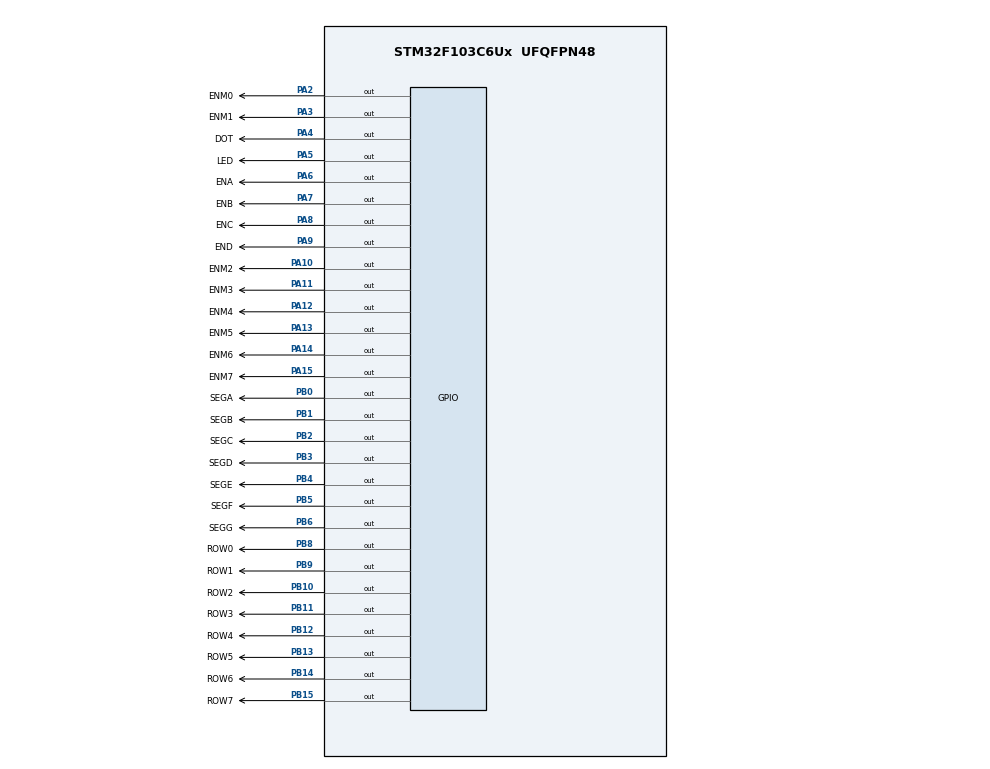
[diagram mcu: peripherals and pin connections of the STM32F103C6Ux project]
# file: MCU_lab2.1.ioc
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Mcu.Family=STM32F1
Mcu.Name=STM32F103C6Ux
Mcu.Package=UFQFPN48
NVIC.PriorityGroup=NVIC_PRIORITYGROUP_4
NVIC.TIM2_IRQn=true\:0\:0\:false\:false\:true\:true\:true
PA10.GPIO_Label=ENM2
PA10.Signal=GPIO_Output
PA11.GPIO_Label=ENM3
PA11.Signal=GPIO_Output
PA12.GPIO_Label=ENM4
PA12.Signal=GPIO_Output
PA13.GPIO_Label=ENM5
PA13.Signal=GPIO_Output
PA14.GPIO_Label=ENM6
PA14.Signal=GPIO_Output
PA15.GPIO_Label=ENM7
PA15.Signal=GPIO_Output
PA2.GPIO_Label=ENM0
PA2.Signal=GPIO_Output
PA3.GPIO_Label=ENM1
PA3.Signal=GPIO_Output
PA4.GPIO_Label=DOT
PA4.Signal=GPIO_Output
PA5.GPIO_Label=LED
PA5.Signal=GPIO_Output
PA6.GPIO_Label=ENA
PA6.Signal=GPIO_Output
PA7.GPIO_Label=ENB
PA7.Signal=GPIO_Output
PA8.GPIO_Label=ENC
PA8.Signal=GPIO_Output
PA9.GPIO_Label=END
PA9.Signal=GPIO_Output
PB0.GPIO_Label=SEGA
PB0.Signal=GPIO_Output
PB1.GPIO_Label=SEGB
PB1.Signal=GPIO_Output
PB10.GPIO_Label=ROW2
PB10.Signal=GPIO_Output
PB11.GPIO_Label=ROW3
PB11.Signal=GPIO_Output
PB12.GPIO_Label=ROW4
PB12.Signal=GPIO_Output
PB13.GPIO_Label=ROW5
PB13.Signal=GPIO_Output
PB14.GPIO_Label=ROW6
PB14.Signal=GPIO_Output
PB15.GPIO_Label=ROW7
PB15.Signal=GPIO_Output
PB2.GPIO_Label=SEGC
PB2.Signal=GPIO_Output
PB3.GPIO_Label=SEGD
PB3.Signal=GPIO_Output
PB4.GPIO_Label=SEGE
PB4.Signal=GPIO_Output
PB5.GPIO_Label=SEGF
PB5.Signal=GPIO_Output
PB6.GPIO_Label=SEGG
PB6.Signal=GPIO_Output
PB8.GPIO_Label=ROW0
PB8.Signal=GPIO_Output
PB9.GPIO_Label=ROW1
PB9.Signal=GPIO_Output
ProjectManager.HeapSize=0x200
ProjectManager.StackSize=0x400
ProjectManager.TargetToolchain=STM32CubeIDE
RCC.APB1Freq_Value=8000000
RCC.APB2Freq_Value=8000000
TIM2.Period=9
TIM2.Prescaler=7999
VP_SYS_VS_ND.Mode=No_Debug
VP_TIM2_VS_ClockSourceINT.Mode=Internal
board=custom

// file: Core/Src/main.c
/* USER CODE BEGIN Header */
/**
  ******************************************************************************
  * @file           : main.c
  * @brief          : Main program body
  ******************************************************************************
  * @attention
  *
  * <h2><center>&copy; Copyright (c) 2023 STMicroelectronics.
  * All rights reserved.</center></h2>
  *
  * This software component is licensed by ST under BSD 3-Clause license,
  * the "License"; You may not use this file except in compliance with the
  * License. You may obtain a copy of the License at:
  *                        opensource.org/licenses/BSD-3-Clause
  *
  ******************************************************************************
  */
/* USER CODE END Header */
#include "main.h"

/* USER CODE BEGIN Includes */
#include "software_timer.h"
#include "7seg.h"
/* USER CODE END Includes */

TIM_HandleTypeDef htim2;

void SystemClock_Config(void);
static void MX_TIM2_Init(void);
static void MX_GPIO_Init(void);

int main(void)
{

  /* MCU Configuration--------------------------------------------------------*/

  /* Reset of all peripherals, Initializes the Flash interface and the Systick. */
  HAL_Init();

  /* Configure the system clock */
  SystemClock_Config();

  /* Initialize all configured peripherals */
  MX_TIM2_Init();
  MX_GPIO_Init();
  /* USER CODE BEGIN 2 */
  HAL_TIM_Base_Start_IT (& htim2 );
  const int MAX_LED = 4;
  int index_led = 0;
  int led_buffer [4] = {1 , 5 , 0 , 8};
  void update7SEG (int index) {
	  Display7Seg(led_buffer[index]);
	  switch (index){
	  	  case 0:
    		  HAL_GPIO_WritePin(GPIOA, ENA_Pin, RESET);
    		  HAL_GPIO_WritePin(GPIOA, ENB_Pin, SET);
    		  HAL_GPIO_WritePin(GPIOA, ENC_Pin, SET);
    		  HAL_GPIO_WritePin(GPIOA, END_Pin, SET);
    		  break;
    	  case 1:
    		  HAL_GPIO_WritePin(GPIOA, ENA_Pin, SET);
    		  HAL_GPIO_WritePin(GPIOA, ENB_Pin, RESET);
    		  HAL_GPIO_WritePin(GPIOA, ENC_Pin, SET);
    		  HAL_GPIO_WritePin(GPIOA, END_Pin, SET);
    	  	  break;
    	  case 2:
    		  HAL_GPIO_WritePin(GPIOA, ENA_Pin, SET);
    		  HAL_GPIO_WritePin(GPIOA, ENB_Pin, SET);
    		  HAL_GPIO_WritePin(GPIOA, ENC_Pin, RESET);
    		  HAL_GPIO_WritePin(GPIOA, END_Pin, SET);
    	  	  break;
    	  case 3:
    		  HAL_GPIO_WritePin(GPIOA, ENA_Pin, SET);
    		  HAL_GPIO_WritePin(GPIOA, ENB_Pin, SET);
    		  HAL_GPIO_WritePin(GPIOA, ENC_Pin, SET);
    		  HAL_GPIO_WritePin(GPIOA, END_Pin, RESET);
    	  	  break;
    	  default:
    	  	  break;
    	  }
  };
  int hour = 15, minute = 8, second = 50;
  void updateClockBuffer(){
	  led_buffer[0] = hour / 10;
      led_buffer[1] = hour % 10;
      led_buffer[2] = minute / 10;
      led_buffer[3] = minute % 10;
  };

  void clearCols(){
  	HAL_GPIO_WritePin(GPIOA, ENM0_Pin, SET);
  	HAL_GPIO_WritePin(GPIOA, ENM1_Pin, SET);
  	HAL_GPIO_WritePin(GPIOA, ENM2_Pin, SET);
  	HAL_GPIO_WritePin(GPIOA, ENM3_Pin, SET);
  	HAL_GPIO_WritePin(GPIOA, ENM4_Pin, SET);
  	HAL_GPIO_WritePin(GPIOA, ENM5_Pin, SET);
  	HAL_GPIO_WritePin(GPIOA, ENM6_Pin, SET);
  	HAL_GPIO_WritePin(GPIOA, ENM7_Pin, SET);
  }
  void clearRows(){
  	HAL_GPIO_WritePin(GPIOB, ROW0_Pin, SET);
  	HAL_GPIO_WritePin(GPIOB, ROW1_Pin, SET);
  	HAL_GPIO_WritePin(GPIOB, ROW2_Pin, SET);
  	HAL_GPIO_WritePin(GPIOB, ROW3_Pin, SET);
  	HAL_GPIO_WritePin(GPIOB, ROW4_Pin, SET);
  	HAL_GPIO_WritePin(GPIOB, ROW5_Pin, SET);
  	HAL_GPIO_WritePin(GPIOB, ROW6_Pin, SET);
  	HAL_GPIO_WritePin(GPIOB, ROW7_Pin, SET);
  }

  void setRow(uint8_t code){
	  if((code >> 0) & 0x01)
		  HAL_GPIO_WritePin(ROW7_GPIO_Port, ROW7_Pin, RESET);
	  if((code >> 1) & 0x01)
		  HAL_GPIO_WritePin(ROW6_GPIO_Port, ROW6_Pin, RESET);
	  if((code >> 2) & 0x01)
		  HAL_GPIO_WritePin(ROW5_GPIO_Port, ROW5_Pin, RESET);
	  if((code >> 3) & 0x01)
		  HAL_GPIO_WritePin(ROW4_GPIO_Port, ROW4_Pin, RESET);
	  if((code >> 4) & 0x01)
		  HAL_GPIO_WritePin(ROW3_GPIO_Port, ROW3_Pin, RESET);
	  if((code >> 5) & 0x01)
		  HAL_GPIO_WritePin(ROW2_GPIO_Port, ROW2_Pin, RESET);
	  if((code >> 6) & 0x01)
		  HAL_GPIO_WritePin(ROW1_GPIO_Port, ROW1_Pin, RESET);
	  if((code >> 7) & 0x01)
		  HAL_GPIO_WritePin(ROW0_GPIO_Port, ROW0_Pin, RESET);
  }

  int initCol = 3;
  const int MAX_LED_MATRIX = 8;
  int index_led_matrix = 0;
  int currentState = 3;
  uint8_t matrix_buffer[8] = {0x3E, 0x48, 0x88, 0x48, 0x3E, 0x00, 0x00,0x00};
  void updateLEDMatrix(int state){
	  if(state < 0) return;
	  	clearCols();
  		clearRows();
  	switch(state){
  		case 0:
  			HAL_GPIO_WritePin(GPIOA, ENM0_Pin, RESET);
  			break;
  		case 1:
  			HAL_GPIO_WritePin(GPIOA, ENM1_Pin, RESET);
  			break;
  		case 2:
  			HAL_GPIO_WritePin(GPIOA, ENM2_Pin, RESET);
  			break;
  		case 3:
  			HAL_GPIO_WritePin(GPIOA, ENM3_Pin, RESET);
  			break;
  		case 4:
  			HAL_GPIO_WritePin(GPIOA, ENM4_Pin, RESET);
  			break;
  		case 5:
  			HAL_GPIO_WritePin(GPIOA, ENM5_Pin, RESET);
  			break;
  		case 6:
  			HAL_GPIO_WritePin(GPIOA, ENM6_Pin, RESET);
  			break;
  		case 7:
  			HAL_GPIO_WritePin(GPIOA, ENM7_Pin, RESET);
  			break;
  		default:
  			break;
  	}
  	setRow(matrix_buffer[index_led_matrix]);
  }
  /* USER CODE END 2 */

  /* Infinite loop */
  /* USER CODE BEGIN WHILE */
  setTimer1(50); //led
  setTimer2(100); //clock
  setTimer3(100); //dot
  setTimer4(10); //7seg
  setTimer5(15); //matrix

  while (1)
  {
	  if(timer1_flag == 1){
		  HAL_GPIO_TogglePin(GPIOA, LED_Pin);
		  setTimer1(50);
	  }
	  if(timer2_flag == 1){
		  second++;
		  if(second >= 60){
			  second = 0;
			  minute++;
		  }
		  if(minute >= 60){
			  minute = 0;
			  hour++;
		  }
		  if(hour >= 24) hour = 0;
		  updateClockBuffer();
		  setTimer2(100);
	  }
	  if(timer3_flag == 1){
		  HAL_GPIO_TogglePin(GPIOA, DOT_Pin);
		  setTimer3(100);
	  }
	  if(timer4_flag == 1){
		  update7SEG(index_led++);
		  if(index_led > MAX_LED) index_led = 0;
		  setTimer4(10);
	  }
	  if(timer5_flag == 1){
		  updateLEDMatrix(currentState++);
		  index_led_matrix++;
		  if(index_led_matrix >= MAX_LED_MATRIX){
			  initCol = (initCol - 1);
			  if(initCol == -8 ) initCol = 7;
			  currentState = initCol;
			  index_led_matrix = 0;
		  }
		  setTimer5(1); //10 ms
	  }
    /* USER CODE END WHILE */

  }
}

void SystemClock_Config(void)
{
  RCC_OscInitTypeDef RCC_OscInitStruct = {0};
  RCC_ClkInitTypeDef RCC_ClkInitStruct = {0};

  /** Initializes the RCC Oscillators according to the specified parameters
  * in the RCC_OscInitTypeDef structure.
  */
  RCC_OscInitStruct.OscillatorType = RCC_OSCILLATORTYPE_HSI;
  RCC_OscInitStruct.HSIState = RCC_HSI_ON;
  RCC_OscInitStruct.HSICalibrationValue = RCC_HSICALIBRATION_DEFAULT;
  RCC_OscInitStruct.PLL.PLLState = RCC_PLL_NONE;
  if (HAL_RCC_OscConfig(&RCC_OscInitStruct) != HAL_OK)
  {
    Error_Handler();
  }
  /** Initializes the CPU, AHB and APB buses clocks
  */
  RCC_ClkInitStruct.ClockType = RCC_CLOCKTYPE_HCLK|RCC_CLOCKTYPE_SYSCLK
                              |RCC_CLOCKTYPE_PCLK1|RCC_CLOCKTYPE_PCLK2;
  RCC_ClkInitStruct.SYSCLKSource = RCC_SYSCLKSOURCE_HSI;
  RCC_ClkInitStruct.AHBCLKDivider = RCC_SYSCLK_DIV1;
  RCC_ClkInitStruct.APB1CLKDivider = RCC_HCLK_DIV1;
  RCC_ClkInitStruct.APB2CLKDivider = RCC_HCLK_DIV1;

  if (HAL_RCC_ClockConfig(&RCC_ClkInitStruct, FLASH_LATENCY_0) != HAL_OK)
  {
    Error_Handler();
  }
}

static void MX_TIM2_Init(void)
{

  TIM_ClockConfigTypeDef sClockSourceConfig = {0};
  TIM_MasterConfigTypeDef sMasterConfig = {0};

  htim2.Instance = TIM2;
  htim2.Init.Prescaler = 7999;
  htim2.Init.CounterMode = TIM_COUNTERMODE_UP;
  htim2.Init.Period = 9;
  htim2.Init.ClockDivision = TIM_CLOCKDIVISION_DIV1;
  htim2.Init.AutoReloadPreload = TIM_AUTORELOAD_PRELOAD_DISABLE;
  if (HAL_TIM_Base_Init(&htim2) != HAL_OK)
  {
    Error_Handler();
  }
  sClockSourceConfig.ClockSource = TIM_CLOCKSOURCE_INTERNAL;
  if (HAL_TIM_ConfigClockSource(&htim2, &sClockSourceConfig) != HAL_OK)
  {
    Error_Handler();
  }
  sMasterConfig.MasterOutputTrigger = TIM_TRGO_RESET;
  sMasterConfig.MasterSlaveMode = TIM_MASTERSLAVEMODE_DISABLE;
  if (HAL_TIMEx_MasterConfigSynchronization(&htim2, &sMasterConfig) != HAL_OK)
  {
    Error_Handler();
  }

}

static void MX_GPIO_Init(void)
{
  GPIO_InitTypeDef GPIO_InitStruct = {0};

  /* GPIO Ports Clock Enable */
  __HAL_RCC_GPIOA_CLK_ENABLE();
  __HAL_RCC_GPIOB_CLK_ENABLE();

  /*Configure GPIO pin Output Level */
  HAL_GPIO_WritePin(GPIOA, ENM0_Pin|ENM1_Pin|DOT_Pin|LED_Pin
                          |ENA_Pin|ENB_Pin|ENC_Pin|END_Pin
                          |ENM2_Pin|ENM3_Pin|ENM4_Pin|ENM5_Pin
                          |ENM6_Pin|ENM7_Pin, GPIO_PIN_RESET);

  /*Configure GPIO pin Output Level */
  HAL_GPIO_WritePin(GPIOB, SEGA_Pin|SEGB_Pin|SEGC_Pin|ROW2_Pin
                          |ROW3_Pin|ROW4_Pin|ROW5_Pin|ROW6_Pin
                          |ROW7_Pin|SEGD_Pin|SEGE_Pin|SEGF_Pin
                          |SEGG_Pin|ROW0_Pin|ROW1_Pin, GPIO_PIN_RESET);

  /*Configure GPIO pins : ENM0_Pin ENM1_Pin DOT_Pin LED_Pin
                           ENA_Pin ENB_Pin ENC_Pin END_Pin
                           ENM2_Pin ENM3_Pin ENM4_Pin ENM5_Pin
                           ENM6_Pin ENM7_Pin */
  GPIO_InitStruct.Pin = ENM0_Pin|ENM1_Pin|DOT_Pin|LED_Pin
                          |ENA_Pin|ENB_Pin|ENC_Pin|END_Pin
                          |ENM2_Pin|ENM3_Pin|ENM4_Pin|ENM5_Pin
                          |ENM6_Pin|ENM7_Pin;
  GPIO_InitStruct.Mode = GPIO_MODE_OUTPUT_PP;
  GPIO_InitStruct.Pull = GPIO_NOPULL;
  GPIO_InitStruct.Speed = GPIO_SPEED_FREQ_LOW;
  HAL_GPIO_Init(GPIOA, &GPIO_InitStruct);

  /*Configure GPIO pins : SEGA_Pin SEGB_Pin SEGC_Pin ROW2_Pin
                           ROW3_Pin ROW4_Pin ROW5_Pin ROW6_Pin
                           ROW7_Pin SEGD_Pin SEGE_Pin SEGF_Pin
                           SEGG_Pin ROW0_Pin ROW1_Pin */
  GPIO_InitStruct.Pin = SEGA_Pin|SEGB_Pin|SEGC_Pin|ROW2_Pin
                          |ROW3_Pin|ROW4_Pin|ROW5_Pin|ROW6_Pin
                          |ROW7_Pin|SEGD_Pin|SEGE_Pin|SEGF_Pin
                          |SEGG_Pin|ROW0_Pin|ROW1_Pin;
  GPIO_InitStruct.Mode = GPIO_MODE_OUTPUT_PP;
  GPIO_InitStruct.Pull = GPIO_NOPULL;
  GPIO_InitStruct.Speed = GPIO_SPEED_FREQ_LOW;
  HAL_GPIO_Init(GPIOB, &GPIO_InitStruct);

}

/* USER CODE BEGIN 4 */
//10ms
//int counter = 100;
void HAL_TIM_PeriodElapsedCallback ( TIM_HandleTypeDef * htim ) {
//	counter--;
//	if (counter <= 0) {
//		counter = 100;
//		HAL_GPIO_TogglePin(LED_GPIO_Port, LED_Pin);
//	}
	timerRun();
}
/* USER CODE END 4 */

void Error_Handler(void)
{
  __disable_irq();
  while (1)
  {
  }
}

/************************ (C) COPYRIGHT STMicroelectronics *****END OF FILE****/
